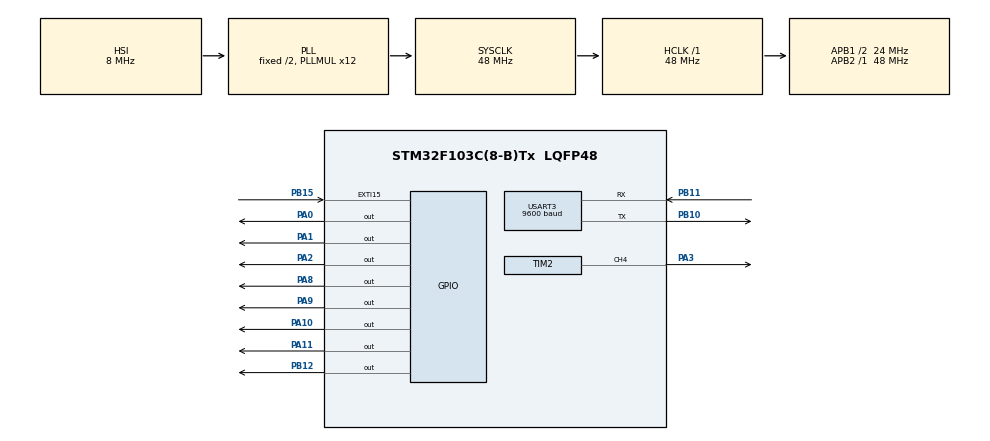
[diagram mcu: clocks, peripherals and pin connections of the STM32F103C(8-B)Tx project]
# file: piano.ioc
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Mcu.Family=STM32F1
Mcu.Name=STM32F103C(8-B)Tx
Mcu.Package=LQFP48
NVIC.EXTI15_10_IRQn=true\:0\:0\:false\:false\:true\:true\:true\:true
NVIC.PriorityGroup=NVIC_PRIORITYGROUP_4
NVIC.TIM3_IRQn=true\:0\:0\:false\:false\:true\:true\:true\:true
NVIC.USART3_IRQn=true\:0\:0\:false\:false\:true\:true\:true\:true
PA0-WKUP.Signal=GPIO_Output
PA1.Signal=GPIO_Output
PA10.Signal=GPIO_Output
PA11.Signal=GPIO_Output
PA2.Signal=GPIO_Output
PA3.Signal=S_TIM2_CH4
PA8.Signal=GPIO_Output
PA9.Signal=GPIO_Output
PB10.Mode=Asynchronous
PB10.Signal=USART3_TX
PB11.Mode=Asynchronous
PB11.Signal=USART3_RX
PB12.Signal=GPIO_Output
PB15.GPIO_PuPd=GPIO_PULLDOWN
PB15.Signal=GPXTI15
ProjectManager.HeapSize=0x200
ProjectManager.StackSize=0x400
ProjectManager.TargetToolchain=STM32CubeIDE
RCC.AHBFreq_Value=48000000
RCC.APB1CLKDivider=RCC_HCLK_DIV2
RCC.APB1Freq_Value=24000000
RCC.APB1TimFreq_Value=48000000
RCC.APB2Freq_Value=48000000
RCC.APB2TimFreq_Value=48000000
RCC.HCLKFreq_Value=48000000
RCC.PLLMUL=RCC_PLL_MUL12
RCC.SYSCLKFreq_VALUE=48000000
RCC.SYSCLKSource=RCC_SYSCLKSOURCE_PLLCLK
RCC.USBFreq_Value=48000000
SH.S_TIM2_CH4.0=TIM2_CH4,PWM Generation4 CH4
TIM2.Channel-PWM\ Generation4\ CH4=TIM_CHANNEL_4
TIM3.Period=999
TIM3.Prescaler=47
USART3.BaudRate=9600
USART3.VirtualMode=VM_ASYNC
VP_TIM2_VS_ClockSourceINT.Mode=Internal
VP_TIM3_VS_ClockSourceINT.Mode=Internal
board=custom

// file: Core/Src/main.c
/* USER CODE BEGIN Header */
/**
 ******************************************************************************
 * @file           : main.c
 * @brief          : Main program body
 ******************************************************************************
 * @attention
 *
 * Copyright (c) 2023 STMicroelectronics.
 * All rights reserved.
 *
 * This software is licensed under terms that can be found in the LICENSE file
 * in the root directory of this software component.
 * If no LICENSE file comes with this software, it is provided AS-IS.
 *
 ******************************************************************************
 */
/* USER CODE END Header */
#include "main.h"

/* USER CODE BEGIN Includes */
#include "notesFrequencies.h"
/* USER CODE END Includes */

TIM_HandleTypeDef htim2;
TIM_HandleTypeDef htim3;

UART_HandleTypeDef huart3;

/* USER CODE BEGIN PV */
unsigned char input = '0';
TIM_HandleTypeDef *buzzerPwmTimer;
uint32_t buzzerPwmChannel;
int duration = 0;
int play = 0;
int freq = 0;
/* USER CODE END PV */

void SystemClock_Config(void);
static void MX_GPIO_Init(void);
static void MX_USART3_UART_Init(void);
static void MX_TIM3_Init(void);
static void MX_TIM2_Init(void);
/* USER CODE BEGIN PFP */

void buzzer_init();
void buzzer_change_tone(uint16_t freq, uint16_t volume);
void decode(int num, int BCD[4]);
/* USER CODE END PFP */

int main(void) {

	/* MCU Configuration--------------------------------------------------------*/

	/* Reset of all peripherals, Initializes the Flash interface and the Systick. */
	HAL_Init();

	/* Configure the system clock */
	SystemClock_Config();

	/* Initialize all configured peripherals */
	MX_GPIO_Init();
	MX_USART3_UART_Init();
	MX_TIM3_Init();
	MX_TIM2_Init();
	/* USER CODE BEGIN 2 */
	buzzer_init();
//  buzzer_change_tone(500, 10);
	HAL_UART_Receive_IT(&huart3, &input, sizeof(input));
	HAL_TIM_Base_Start_IT(&htim3);
	/* USER CODE END 2 */

	/* Infinite loop */
	while (1) {

	}
}

void SystemClock_Config(void) {
	RCC_OscInitTypeDef RCC_OscInitStruct = { 0 };
	RCC_ClkInitTypeDef RCC_ClkInitStruct = { 0 };

	/** Initializes the RCC Oscillators according to the specified parameters
	 * in the RCC_OscInitTypeDef structure.
	 */
	RCC_OscInitStruct.OscillatorType = RCC_OSCILLATORTYPE_HSI;
	RCC_OscInitStruct.HSIState = RCC_HSI_ON;
	RCC_OscInitStruct.HSICalibrationValue = RCC_HSICALIBRATION_DEFAULT;
	RCC_OscInitStruct.PLL.PLLState = RCC_PLL_ON;
	RCC_OscInitStruct.PLL.PLLSource = RCC_PLLSOURCE_HSI_DIV2;
	RCC_OscInitStruct.PLL.PLLMUL = RCC_PLL_MUL12;
	if (HAL_RCC_OscConfig(&RCC_OscInitStruct) != HAL_OK) {
		Error_Handler();
	}

	/** Initializes the CPU, AHB and APB buses clocks
	 */
	RCC_ClkInitStruct.ClockType = RCC_CLOCKTYPE_HCLK | RCC_CLOCKTYPE_SYSCLK
			| RCC_CLOCKTYPE_PCLK1 | RCC_CLOCKTYPE_PCLK2;
	RCC_ClkInitStruct.SYSCLKSource = RCC_SYSCLKSOURCE_PLLCLK;
	RCC_ClkInitStruct.AHBCLKDivider = RCC_SYSCLK_DIV1;
	RCC_ClkInitStruct.APB1CLKDivider = RCC_HCLK_DIV2;
	RCC_ClkInitStruct.APB2CLKDivider = RCC_HCLK_DIV1;

	if (HAL_RCC_ClockConfig(&RCC_ClkInitStruct, FLASH_LATENCY_1) != HAL_OK) {
		Error_Handler();
	}
}

static void MX_TIM2_Init(void) {

	TIM_ClockConfigTypeDef sClockSourceConfig = { 0 };
	TIM_MasterConfigTypeDef sMasterConfig = { 0 };
	TIM_OC_InitTypeDef sConfigOC = { 0 };

	htim2.Instance = TIM2;
	htim2.Init.Prescaler = 0;
	htim2.Init.CounterMode = TIM_COUNTERMODE_UP;
	htim2.Init.Period = 65535;
	htim2.Init.ClockDivision = TIM_CLOCKDIVISION_DIV1;
	htim2.Init.AutoReloadPreload = TIM_AUTORELOAD_PRELOAD_DISABLE;
	if (HAL_TIM_Base_Init(&htim2) != HAL_OK) {
		Error_Handler();
	}
	sClockSourceConfig.ClockSource = TIM_CLOCKSOURCE_INTERNAL;
	if (HAL_TIM_ConfigClockSource(&htim2, &sClockSourceConfig) != HAL_OK) {
		Error_Handler();
	}
	if (HAL_TIM_PWM_Init(&htim2) != HAL_OK) {
		Error_Handler();
	}
	sMasterConfig.MasterOutputTrigger = TIM_TRGO_RESET;
	sMasterConfig.MasterSlaveMode = TIM_MASTERSLAVEMODE_DISABLE;
	if (HAL_TIMEx_MasterConfigSynchronization(&htim2, &sMasterConfig)
			!= HAL_OK) {
		Error_Handler();
	}
	sConfigOC.OCMode = TIM_OCMODE_PWM1;
	sConfigOC.Pulse = 0;
	sConfigOC.OCPolarity = TIM_OCPOLARITY_HIGH;
	sConfigOC.OCFastMode = TIM_OCFAST_DISABLE;
	if (HAL_TIM_PWM_ConfigChannel(&htim2, &sConfigOC, TIM_CHANNEL_4)
			!= HAL_OK) {
		Error_Handler();
	}
	HAL_TIM_MspPostInit(&htim2);

}

static void MX_TIM3_Init(void) {

	TIM_ClockConfigTypeDef sClockSourceConfig = { 0 };
	TIM_MasterConfigTypeDef sMasterConfig = { 0 };

	htim3.Instance = TIM3;
	htim3.Init.Prescaler = 47;
	htim3.Init.CounterMode = TIM_COUNTERMODE_UP;
	htim3.Init.Period = 999;
	htim3.Init.ClockDivision = TIM_CLOCKDIVISION_DIV1;
	htim3.Init.AutoReloadPreload = TIM_AUTORELOAD_PRELOAD_DISABLE;
	if (HAL_TIM_Base_Init(&htim3) != HAL_OK) {
		Error_Handler();
	}
	sClockSourceConfig.ClockSource = TIM_CLOCKSOURCE_INTERNAL;
	if (HAL_TIM_ConfigClockSource(&htim3, &sClockSourceConfig) != HAL_OK) {
		Error_Handler();
	}
	sMasterConfig.MasterOutputTrigger = TIM_TRGO_RESET;
	sMasterConfig.MasterSlaveMode = TIM_MASTERSLAVEMODE_DISABLE;
	if (HAL_TIMEx_MasterConfigSynchronization(&htim3, &sMasterConfig)
			!= HAL_OK) {
		Error_Handler();
	}

}

static void MX_USART3_UART_Init(void) {

	huart3.Instance = USART3;
	huart3.Init.BaudRate = 9600;
	huart3.Init.WordLength = UART_WORDLENGTH_8B;
	huart3.Init.StopBits = UART_STOPBITS_1;
	huart3.Init.Parity = UART_PARITY_NONE;
	huart3.Init.Mode = UART_MODE_TX_RX;
	huart3.Init.HwFlowCtl = UART_HWCONTROL_NONE;
	huart3.Init.OverSampling = UART_OVERSAMPLING_16;
	if (HAL_UART_Init(&huart3) != HAL_OK) {
		Error_Handler();
	}

}

static void MX_GPIO_Init(void) {
	GPIO_InitTypeDef GPIO_InitStruct = { 0 };

	/* GPIO Ports Clock Enable */
	__HAL_RCC_GPIOA_CLK_ENABLE();
	__HAL_RCC_GPIOB_CLK_ENABLE();

	/*Configure GPIO pin Output Level */
	HAL_GPIO_WritePin(GPIOA,
			GPIO_PIN_0 | GPIO_PIN_1 | GPIO_PIN_2 | GPIO_PIN_8 | GPIO_PIN_9
					| GPIO_PIN_10 | GPIO_PIN_11, GPIO_PIN_RESET);

	/*Configure GPIO pin Output Level */
	HAL_GPIO_WritePin(GPIOB, GPIO_PIN_12, GPIO_PIN_RESET);

	/*Configure GPIO pins : PA0 PA1 PA2 PA8
	 PA9 PA10 PA11 */
	GPIO_InitStruct.Pin = GPIO_PIN_0 | GPIO_PIN_1 | GPIO_PIN_2 | GPIO_PIN_8
			| GPIO_PIN_9 | GPIO_PIN_10 | GPIO_PIN_11;
	GPIO_InitStruct.Mode = GPIO_MODE_OUTPUT_PP;
	GPIO_InitStruct.Pull = GPIO_NOPULL;
	GPIO_InitStruct.Speed = GPIO_SPEED_FREQ_LOW;
	HAL_GPIO_Init(GPIOA, &GPIO_InitStruct);

	/*Configure GPIO pin : PB12 */
	GPIO_InitStruct.Pin = GPIO_PIN_12;
	GPIO_InitStruct.Mode = GPIO_MODE_OUTPUT_PP;
	GPIO_InitStruct.Pull = GPIO_NOPULL;
	GPIO_InitStruct.Speed = GPIO_SPEED_FREQ_LOW;
	HAL_GPIO_Init(GPIOB, &GPIO_InitStruct);

	/*Configure GPIO pin : PB15 */
	GPIO_InitStruct.Pin = GPIO_PIN_15;
	GPIO_InitStruct.Mode = GPIO_MODE_IT_RISING;
	GPIO_InitStruct.Pull = GPIO_PULLDOWN;
	HAL_GPIO_Init(GPIOB, &GPIO_InitStruct);

	/* EXTI interrupt init*/
	HAL_NVIC_SetPriority(EXTI15_10_IRQn, 0, 0);
	HAL_NVIC_EnableIRQ(EXTI15_10_IRQn);

}

/* USER CODE BEGIN 4 */

void HAL_TIM_PeriodElapsedCallback(TIM_HandleTypeDef *htim) {
	static int state = 0;
//	GPIOA;
	static uint16_t IC[4] = { GPIO_PIN_8, GPIO_PIN_9, GPIO_PIN_10, GPIO_PIN_11 };
	static int bcd[4] = { 0 };
	if (htim->Instance == TIM3) {
		if (play > 0) {
			buzzer_change_tone(freq, 5);
			play--;
		} else {
			buzzer_change_tone(0, 0);
		}

		if (state == 0) {
			state++;
			decode(duration / 100, bcd);
			HAL_GPIO_WritePin(GPIOA, GPIO_PIN_1 | GPIO_PIN_2, GPIO_PIN_SET);
			HAL_GPIO_WritePin(GPIOA, GPIO_PIN_0, GPIO_PIN_RESET);
			for (int i = 0; i < 4; i++) {
				HAL_GPIO_WritePin(GPIOA, IC[i], bcd[i]);
			}
		} else if (state == 1) {
			state++;
			decode((duration / 10) % 10, bcd);
			HAL_GPIO_WritePin(GPIOA, GPIO_PIN_0 | GPIO_PIN_2, GPIO_PIN_SET);
			HAL_GPIO_WritePin(GPIOA, GPIO_PIN_1, GPIO_PIN_RESET);
			for (int i = 0; i < 4; i++) {
				HAL_GPIO_WritePin(GPIOA, IC[i], bcd[i]);
			}
		} else {
			state = 0;
			decode(duration % 10, bcd);
			HAL_GPIO_WritePin(GPIOA, GPIO_PIN_0 | GPIO_PIN_1, GPIO_PIN_SET);
			HAL_GPIO_WritePin(GPIOA, GPIO_PIN_2, GPIO_PIN_RESET);
			for (int i = 0; i < 4; i++) {
				HAL_GPIO_WritePin(GPIOA, IC[i], bcd[i]);
			}
		}
	}
}

void HAL_UART_RxCpltCallback(UART_HandleTypeDef *huart) {
	if (huart->Instance == USART3) {
		HAL_UART_Receive_IT(&huart3, &input, sizeof(input));
		HAL_UART_Transmit(&huart3, &input, sizeof(input), 1000);
		switch (input) {
		case 'a':
			play = duration;
			freq = NOTE_B0;
			HAL_GPIO_TogglePin(GPIOB, GPIO_PIN_12);
			break;
		case 's':
			play = duration;
			freq = NOTE_C1;
			HAL_GPIO_TogglePin(GPIOB, GPIO_PIN_12);
			break;
		case 'd':
			play = duration;
			freq = NOTE_CS1;
			HAL_GPIO_TogglePin(GPIOB, GPIO_PIN_12);
			break;
		case 'f':
			play = duration;
			freq = NOTE_A1;
			HAL_GPIO_TogglePin(GPIOB, GPIO_PIN_12);
			break;
		case 'g':
			play = duration;
			freq = NOTE_A2;
			HAL_GPIO_TogglePin(GPIOB, GPIO_PIN_12);
			break;
		case 'h':
			play = duration;
			freq = NOTE_A3;
			HAL_GPIO_TogglePin(GPIOB, GPIO_PIN_12);
			break;
		case 'j':
			play = duration;
			freq = NOTE_A4;
			HAL_GPIO_TogglePin(GPIOB, GPIO_PIN_12);
			break;
		case 'k':
			play = duration;
			freq = NOTE_A5;
			HAL_GPIO_TogglePin(GPIOB, GPIO_PIN_12);
			break;
		case 'l':
			play = duration;
			freq = NOTE_A6;
			HAL_GPIO_TogglePin(GPIOB, GPIO_PIN_12);
			break;
		case 'q':
			play = duration;
			freq = NOTE_C7;
			HAL_GPIO_TogglePin(GPIOB, GPIO_PIN_12);
			break;
		case 'w':
			play = duration;
			freq = NOTE_C6;
			HAL_GPIO_TogglePin(GPIOB, GPIO_PIN_12);
			break;
		default:
			break;
		}
	}
}

void buzzer_init() {
	buzzerPwmTimer = &htim2;
	buzzerPwmChannel = TIM_CHANNEL_4;
	HAL_TIM_PWM_Start(buzzerPwmTimer, buzzerPwmChannel);
}

void buzzer_change_tone(uint16_t freq, uint16_t volume) {
	if (freq == 0 || freq > 20000) {
		__HAL_TIM_SET_COMPARE(buzzerPwmTimer, buzzerPwmChannel, 0);
	} else {
		const uint32_t internalClockFreq = HAL_RCC_GetSysClockFreq();
		const uint32_t prescaler = 1 + internalClockFreq / freq / 60000;
		const uint32_t timerClock = internalClockFreq / prescaler;
		const uint32_t periodCycles = timerClock / freq;
		const uint32_t pulseWidth = volume * periodCycles / 1000 / 2;

		buzzerPwmTimer->Instance->PSC = prescaler - 1;
		buzzerPwmTimer->Instance->ARR = periodCycles - 1;
		buzzerPwmTimer->Instance->EGR = TIM_EGR_UG;

		__HAL_TIM_SET_COMPARE(buzzerPwmTimer, buzzerPwmChannel, pulseWidth);
	}
}

void decode(int num, int BCD[4]) {
	switch (num) {
	case 0:
		BCD[3] = 0;
		BCD[2] = 0;
		BCD[1] = 0;
		BCD[0] = 0;
		break;
	case 1:
		BCD[3] = 0;
		BCD[2] = 0;
		BCD[1] = 0;
		BCD[0] = 1;
		break;
	case 2:
		BCD[3] = 0;
		BCD[2] = 0;
		BCD[1] = 1;
		BCD[0] = 0;
		break;
	case 3:
		BCD[3] = 0;
		BCD[2] = 0;
		BCD[1] = 1;
		BCD[0] = 1;
		break;
	case 4:
		BCD[3] = 0;
		BCD[2] = 1;
		BCD[1] = 0;
		BCD[0] = 0;
		break;
	case 5:
		BCD[3] = 0;
		BCD[2] = 1;
		BCD[1] = 0;
		BCD[0] = 1;
		break;
	case 6:
		BCD[3] = 0;
		BCD[2] = 1;
		BCD[1] = 1;
		BCD[0] = 0;
		break;
	case 7:
		BCD[3] = 0;
		BCD[2] = 1;
		BCD[1] = 1;
		BCD[0] = 1;
		break;
	case 8:
		BCD[3] = 1;
		BCD[2] = 0;
		BCD[1] = 0;
		BCD[0] = 0;
		break;
	case 9:
		BCD[3] = 1;
		BCD[2] = 0;
		BCD[1] = 0;
		BCD[0] = 1;
		break;
	default:
		break;
	}
}

void HAL_GPIO_EXTI_Callback(uint16_t GPIO_Pin) {
	static uint32_t current = 0;
	if (GPIO_Pin == GPIO_PIN_15) {
		if (HAL_GetTick() - current > 200) {
			HAL_GPIO_TogglePin(GPIOB, GPIO_PIN_12);
			duration += 100;
			duration %= 1100;
			buzzer_change_tone(duration, 10);
			current = HAL_GetTick();
		}
	}
}
/* USER CODE END 4 */

void Error_Handler(void) {
	__disable_irq();
	while (1) {
	}
}
